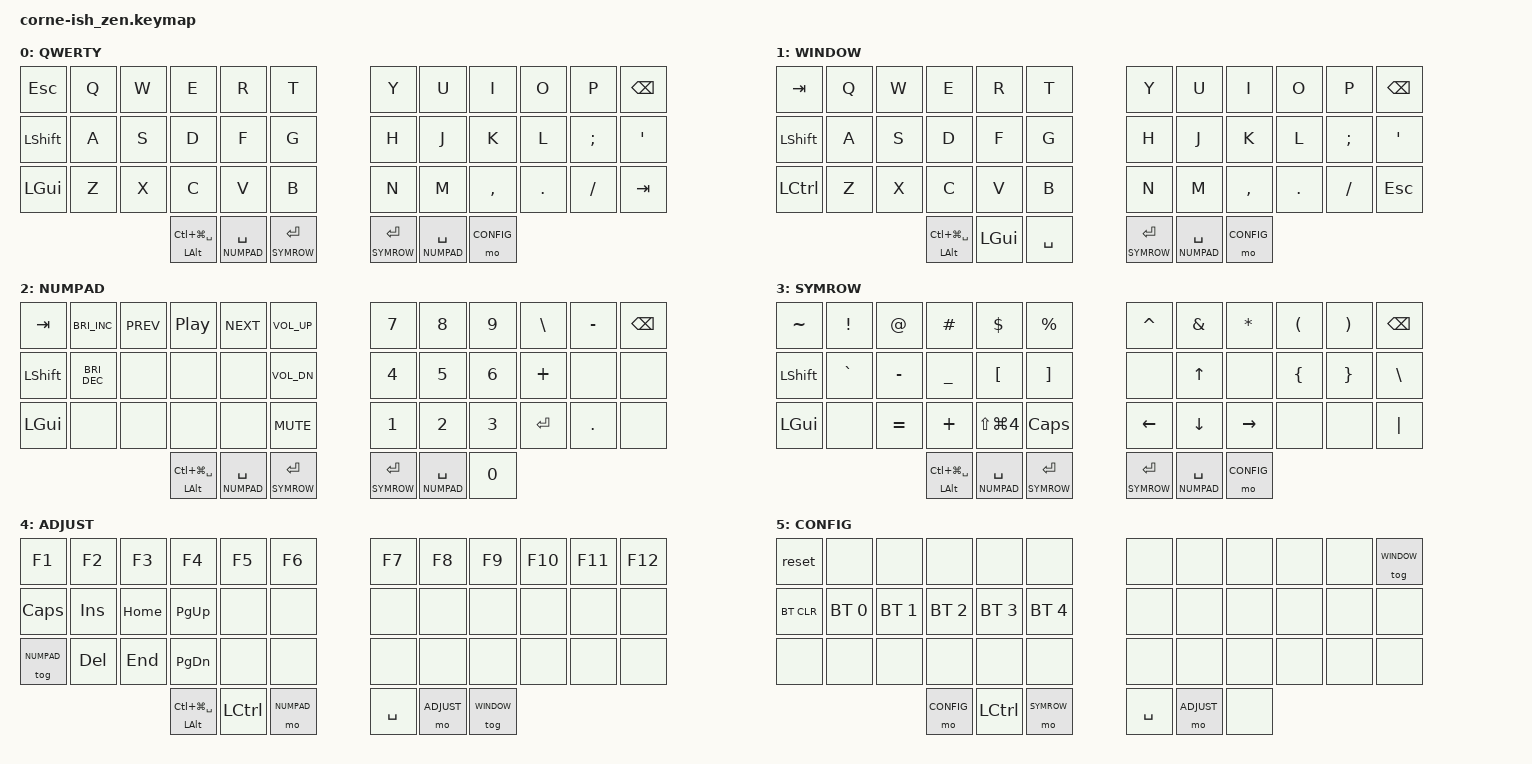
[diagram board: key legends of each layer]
/*
*
* Copyright (c) 2021 lowprokb.ca
* SPDX-License-Identifier: MIT
*
*/

#include <behaviors.dtsi>
#include <dt-bindings/zmk/keys.h>
#include <dt-bindings/zmk/bt.h>

#define QWERTY 0
#define WINDOW 1
#define NUMPAD 2
#define SYMROW 3
#define ADJUST 4
#define CONFIG 5

&mt {
    tapping-term-ms = <400>;
};


/ {
        keymap {
                compatible = "zmk,keymap";

                default_layer {
                        label = "QWERTY";
// -----------------------------------------------------------------------------------------
// | ESC  |  Q  |  W  |  E  |  R  |  T  |   |  Y  |  U   |  I  |  O  |  P  | BSPC |
// | SHFT |  A  |  S  |  D  |  F  |  G  |   |  H  |  J   |  K  |  L  |  ;  |  '   |
// | GUI  |  Z  |  X  |  C  |  V  |  B  |   |  N  |  M   |  ,  |  .  |  /  | TAB  |
//                    | LALT| LGUI|  SPC|   | nument | SYMROW SPC  | config |
                        bindings = <
   &kp ESC    &kp Q  &kp W &kp E &kp R &kp T     &kp Y &kp U &kp I     &kp O    &kp P    &kp BSPC
   &kp LSHFT  &kp A  &kp S &kp D &kp F &kp G     &kp H &kp J &kp K     &kp L    &kp SEMI &kp SQT
   &kp LGUI   &kp Z  &kp X &kp C &kp V &kp B     &kp N &kp M &kp COMMA &kp DOT  &kp FSLH &kp TAB
              &mt LALT LC(LG(SPACE)) &lt NUMPAD SPACE &lt SYMROW ENTER           &lt SYMROW ENTER &lt NUMPAD SPACE  &mo CONFIG
                        >;
                };

                window_layer {
                        label = "WINDOW";
// -----------------------------------------------------------------------------------------
// | TAB  |  Q  |  W  |  E  |  R  |  T  |   |  Y  |  U   |  I  |  O  |  P  | BSPC |
// | SHFT |  A  |  S  |  D  |  F  |  G  |   |  H  |  J   |  K  |  L  |  ;  |  '   |
// | LCTRL|  Z  |  X  |  C  |  V  |  B  |   |  N  |  M   |  ,  |  .  |  /  | ESC  |
//                    | LALT| LGUI|  SPC|   | nument | SYMROW SPC  | config |
                        bindings = <
   &kp TAB    &kp Q  &kp W &kp E &kp R &kp T     &kp Y &kp U &kp I     &kp O    &kp P    &kp BSPC
   &kp LSHFT  &kp A  &kp S &kp D &kp F &kp G     &kp H &kp J &kp K     &kp L    &kp SEMI &kp SQT
   &kp LCTRL   &kp Z  &kp X &kp C &kp V &kp B     &kp N &kp M &kp COMMA &kp DOT  &kp FSLH &kp ESC
              &mt LALT LC(LG(SPACE)) &kp LGUI &kp SPACE          &lt SYMROW ENTER &lt NUMPAD SPACE  &mo CONFIG
                        >;
                };

                numpad_layer {
                        label = "NUMPAD";
                        bindings = < 
// -----------------------------------------------------------------------------------------
// | TAB  |  _  |PREV |PLAY |NEXT |  VolUP |   |  7  |  8   |  9  |  \  |  -  | BSPC |
// | SHFT |  _  |  _  |  _  |  _  |  VOLDN |   |  4  |  5   |  6  |  +  |  _  |  _   |
// | LGUI |  —  |  —  |  _  |  _  |  MUTE  |   |  1  |  2   |  3  |  ENT|  .  | _    |
//                    | LALT| LGUI|  SPC   |   | nument | NUMPAD SPC  | 0 |

   &kp TAB   &kp C_BRI_INC &kp C_PREV &kp C_PP &kp C_NEXT &kp C_VOL_UP   &kp N7  &kp N8 &kp N9 &kp BSLH    &kp MINUS &kp BSPC
   &kp LSHFT &kp C_BRI_DEC &none      &none    &none      &kp C_VOL_DN   &kp N4  &kp N5 &kp N6 &kp PLUS    &none     &none
   &kp LGUI  &none &none   &none      &none    &kp C_MUTE                &kp N1  &kp N2 &kp N3 &kp ENTER   &kp DOT     &none
              &mt LALT LC(LG(SPACE)) &lt NUMPAD SPACE &lt SYMROW ENTER                 &lt SYMROW ENTER &lt NUMPAD SPACE &kp N0
                        >;
                };

                symrow_layer {
                        label = "SYMROW";
                        bindings = <
// -----------------------------------------------------------------------------------------
// |  `   |  !  |  @  |  #  |  $  |  %  |   |  ^  |  &    |  *     |  (  |  )  | BSPC |
// | SHFT |  `  |  -  |  _  |  [  |  ]  |   |     | UP    |        |  {  |  }  |   \  |
// | GUI  |     |  =  | +   | SS  | CAPS|   | LEFT| DOWN  |RIGHT | |     |  |   |
//                    | LALT| LGUI|  SPC|   | nument | SYMROW SPC  | config |
   &kp TILDE  &kp EXCL  &kp AT    &kp HASH   &kp DLLR       &kp PRCNT    &kp CARET &kp AMPS  &kp STAR   &kp LPAR  &kp RPAR  &kp BSPC
   &kp LSHFT  &kp GRAVE &kp MINUS &kp UNDER  &kp LBKT       &kp RBKT     &none     &kp UP     &none     &kp LBRC  &kp RBRC  &kp BSLH
   &kp LGUI   &none     &kp EQUAL &kp PLUS   &kp LS(LG(N4)) &kp CAPS     &kp LEFT  &kp DOWN  &kp RIGHT   &none &none     &kp PIPE 
                 &mt LALT LC(LG(SPACE)) &lt NUMPAD SPACE &lt SYMROW ENTER              &lt SYMROW ENTER &lt NUMPAD SPACE  &mo CONFIG
                        >;
                };

                adjust_layer {
                        label = "ADJUST";
                        bindings = <
// -----------------------------------------------------------------------------------------
// |  F1  | F2  | F3  | F4  | F5  | F6  |   | F7  | F8  | F9  | F10 | F11 | F12 |
// | CAPS | INS | HOME| PGUP|     |     |   |     |     |     |     |     |     |
// |NUMPAD| DEL | F12 | PGDN|     |     |   |     |  -  |  =  |  \  |     |     |
//                    |     |     |     |   |     |     | WIN |
   &kp F1      &kp F2  &kp F3   &kp F4    &kp F5 &kp F6    &kp F7   &kp F8   &kp F9 &kp F10   &kp F11 &kp F12
   &kp CAPS    &kp INS &kp HOME &kp PG_UP &none  &none     &none    &none    &none  &none     &none   &none
   &tog NUMPAD &kp DEL &kp END  &kp PG_DN &none  &none     &none    &none    &none  &none     &none   &none
                           &mt LALT LC(LG(SPACE)) &kp LCTRL &mo NUMPAD    &kp SPACE &mo ADJUST &tog WINDOW
                        >;
                };

                config_layer {
                        label = "CONFIG";
                        bindings = <
// -----------------------------------------------------------------------------------------
// | RESET|     |     |     |     |     |   |     |     |     |     |     |      |
// | BTCLR| BT1 | BT2 | BT3 | BT4 | BT5 |   |     |     |     |     |     |      |
// | CAPS |     |     |     |     |     |   |     |     |     |     |     |      |
//                    |     |     |     |   |     |     |     |
   &reset     &none        &none        &none        &none        &none           &none &none &none &none &none &tog WINDOW 
   &bt BT_CLR &bt BT_SEL 0 &bt BT_SEL 1 &bt BT_SEL 2 &bt BT_SEL 3 &bt BT_SEL 4    &none &none &none &none &none &none
   &none      &none        &none        &none        &none        &none           &none &none &none &none &none &none
                                                &mo CONFIG &kp LCTRL &mo SYMROW    &kp SPACE &mo ADJUST &none
                        >;
                };
        };
};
